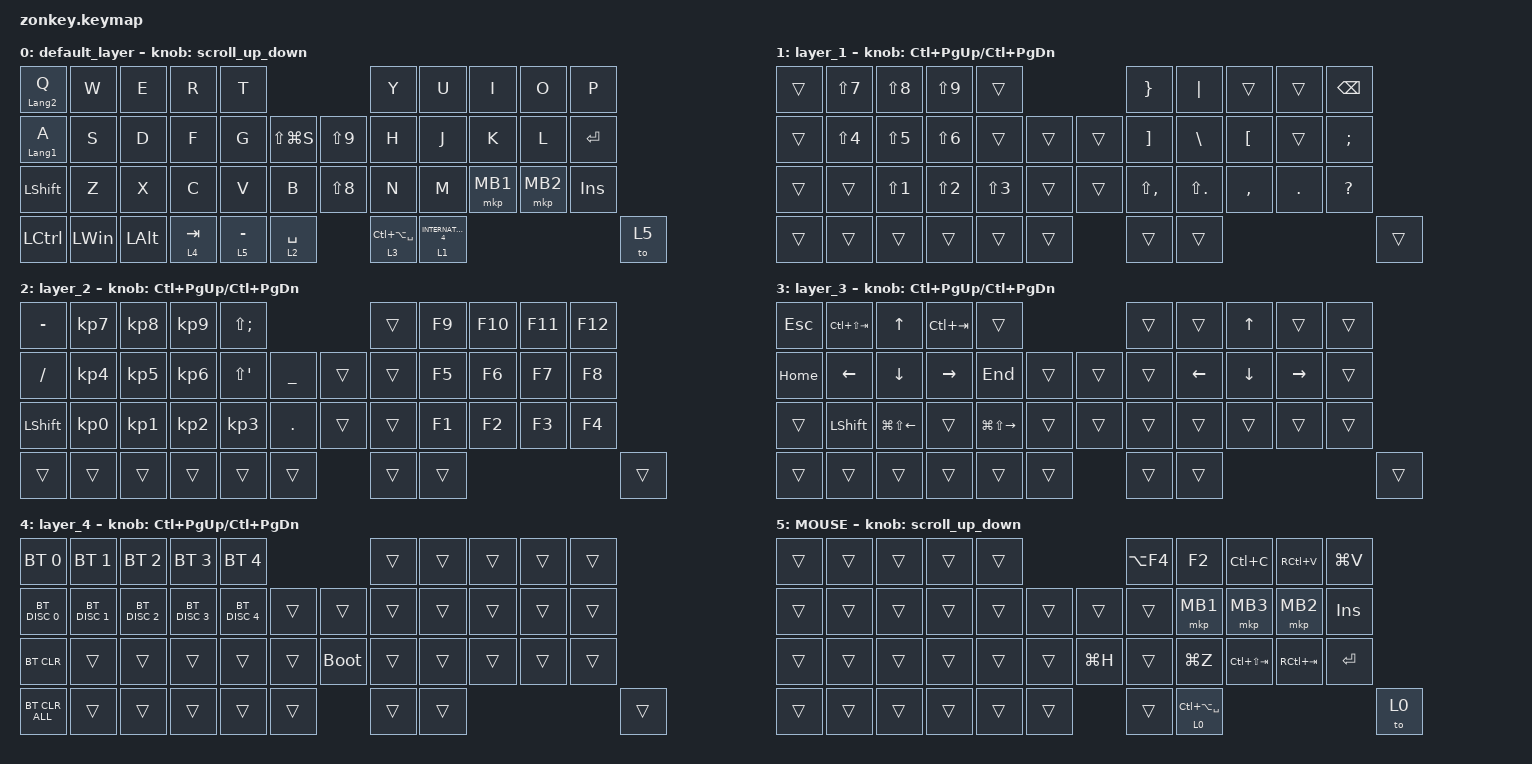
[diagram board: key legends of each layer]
#include <physical_layouts.dtsi>
#include <behaviors.dtsi>
#include <dt-bindings/zmk/bt.h>
#include <dt-bindings/zmk/keys.h>
#include <dt-bindings/zmk/pointing.h>

#define ZMK_POINTING_DEFAULT_SCRL_VAL 100
#define DFb 0
#define JIS 1
#define BT 4
#define MOUSE 6
#define JP_DQUOTE       AT                // "
#define JP_AMPERSAND    CARET             // &
#define JP_QUOTE        AMPERSAND         // '
#define JP_EQUAL        UNDER             // =
#define JP_CARET        EQUAL             // ^
#define JP_YEN          0x89              // ¥
#define JP_PLUS         COLON             // +
#define JP_TILDE        PLUS              // ~
#define JP_PIPE         LS(0x89)          // |
#define JP_AT           LEFT_BRACKET      // @
#define JP_COLON        SINGLE_QUOTE      // :
#define JP_ASTERISK     DOUBLE_QUOTES     // *
#define JP_BACKQUOTE    LEFT_BRACE        // `
#define JP_UNDERSCORE   LS(0x87)          // _
#define JP_LBRACKET     RIGHT_BRACKET     // [
#define JP_RBRACKET     BACKSLASH         // ]
#define JP_LPAREN       ASTERISK          // (
#define JP_RPAREN       LEFT_PARENTHESIS  // )
#define JP_LBRACE       RIGHT_BRACE       // {
#define JP_RBRACE       PIPE              // }
#define JP_KANA         LANGUAGE_1        // かな
#define JP_EISU         LANGUAGE_2        // 英数
#define JP_HANZEN       GRAVE             // 半角/全角
#define JP_BSLH  INT1         // (backslash)

&mt {
    flavor = "balanced";
    quick-tap-ms = <0>;
};

/ {
    combos { compatible = "zmk,combos"; };

    macros {
        to_layer_0: to_layer_0 {
            compatible = "zmk,behavior-macro-one-param";
            #binding-cells = <1>;
            bindings = <&to 0 &macro_param_1to1 &kp MACRO_PLACEHOLDER>;
            label = "TO_LAYER_0";
        };
    };

    behaviors {
        lt_to_layer_0: lt_to_layer_0 {
            compatible = "zmk,behavior-hold-tap";
            label = "LAYER_TAP_TO_0";
            bindings = <&mo>, <&to_layer_0>;

            #binding-cells = <2>;
            tapping-term-ms = <200>;
        };

        mo2: mo2 {
            compatible = "zmk,behavior-mod-morph";
            #binding-cells = <0>;
            bindings = <&kp N2>, <&kp AT>;

            mods = <(MOD_LSFT|MOD_RSFT)>;
        };

        mo6: mo6 {
            compatible = "zmk,behavior-mod-morph";
            #binding-cells = <0>;
            bindings = <&kp N6>, <&kp CARET>;

            mods = <(MOD_LSFT|MOD_RSFT)>;
        };

        mo7: mo7 {
            compatible = "zmk,behavior-mod-morph";
            #binding-cells = <0>;
            bindings = <&kp N7>, <&kp AMPS>;

            mods = <(MOD_LSFT|MOD_RSFT)>;
        };

        mo8: mo8 {
            compatible = "zmk,behavior-mod-morph";
            #binding-cells = <0>;
            bindings = <&kp N8>, <&kp ASTRK>;

            mods = <(MOD_LSFT|MOD_RSFT)>;
        };

        mo9: mo9 {
            compatible = "zmk,behavior-mod-morph";
            #binding-cells = <0>;
            bindings = <&kp N9>, <&kp LPAR>;

            mods = <(MOD_LSFT|MOD_RSFT)>;
        };

        mo0: mo0 {
            compatible = "zmk,behavior-mod-morph";
            #binding-cells = <0>;
            bindings = <&kp N0>, <&kp LS(N9)>;

            mods = <(MOD_LSFT|MOD_RSFT)>;
        };

        moA: moA {
            compatible = "zmk,behavior-mod-morph";
            #binding-cells = <0>;
            bindings = <&kp MINUS>, <&kp UNDERSCORE>;

            mods = <(MOD_LSFT|MOD_RSFT)>;
        };

        moB: moB {
            compatible = "zmk,behavior-mod-morph";
            #binding-cells = <0>;
            bindings = <&kp EQUAL>, <&kp PLUS>;

            mods = <(MOD_LSFT|MOD_RSFT)>;
        };

        moC: moC {
            compatible = "zmk,behavior-mod-morph";
            #binding-cells = <0>;
            bindings = <&kp INT3>, <&kp JP_PIPE>;

            mods = <(MOD_LSFT|MOD_RSFT)>;
        };

        moD: moD {
            compatible = "zmk,behavior-mod-morph";
            #binding-cells = <0>;
            bindings = <&kp LBKT>, <&kp LBRC>;

            mods = <(MOD_LSFT|MOD_RSFT)>;
        };

        moE: moE {
            compatible = "zmk,behavior-mod-morph";
            #binding-cells = <0>;
            bindings = <&kp RBKT>, <&kp RBRC>;

            mods = <(MOD_LSFT|MOD_RSFT)>;
        };

        moF: moF {
            compatible = "zmk,behavior-mod-morph";
            #binding-cells = <0>;
            bindings = <&kp SEMI>, <&kp KP_PLUS>;

            mods = <(MOD_LSFT|MOD_RSFT)>;
        };

        moG: moG {
            compatible = "zmk,behavior-mod-morph";
            #binding-cells = <0>;
            bindings = <&kp APOSTROPHE>, <&kp DQT>;

            mods = <(MOD_LSFT|MOD_RSFT)>;
        };

        moH: moH {
            compatible = "zmk,behavior-mod-morph";
            #binding-cells = <0>;
            bindings = <&kp BACKSLASH>, <&kp TILDE2>;

            mods = <(MOD_LSFT|MOD_RSFT)>;
        };

        moI: moI {
            compatible = "zmk,behavior-mod-morph";
            #binding-cells = <0>;
            bindings = <&kp JP_BSLH>, <&kp JP_UNDERSCORE>;

            mods = <(MOD_LSFT|MOD_RSFT)>;
        };

        scroll_up_down: behavior_sensor_rotate_mouse_wheel_up_down {
            compatible = "zmk,behavior-sensor-rotate";
            #sensor-binding-cells = <0>;
            bindings = <&msc SCRL_UP>, <&msc SCRL_DOWN>;

            tap-ms = <20>;
        };
    };

    keymap {
        compatible = "zmk,keymap";

        default_layer {
            bindings = <
&mt LANGUAGE_2 Q  &kp W         &kp E         &kp R      &kp T                                           &kp Y                &kp U                  &kp I     &kp O     &kp P
&mt LANGUAGE_1 A  &kp S         &kp D         &kp F      &kp G        &kp LS(LG(S))    &kp LS(NUMBER_9)  &kp H                &kp J                  &kp K     &kp L     &kp ENTER
&kp LEFT_SHIFT    &kp Z         &kp X         &kp C      &kp V        &kp B            &kp LS(NUMBER_8)  &kp N                &kp M                  &mkp MB1  &mkp MB2  &kp INSERT
&kp LCTRL         &kp LEFT_WIN  &kp LEFT_ALT  &lt 4 TAB  &lt 5 MINUS  &lt 2 SPACE                        &lt 3 LC(LA(SPACE))  &lt 1 INTERNATIONAL_4                                  &to 5
            >;

            sensor-bindings = <&scroll_up_down>;
        };

        layer_1 {
            bindings = <
&trans  &kp LS(N7)        &kp LS(N8)        &kp LS(N9)        &trans                              &kp RIGHT_BRACE    &kp PIPE        &trans            &trans      &kp BACKSPACE
&trans  &kp LS(NUMBER_4)  &kp LS(N5)        &kp LS(NUMBER_6)  &trans            &trans    &trans  &kp RIGHT_BRACKET  &kp BACKSLASH   &kp LEFT_BRACKET  &trans      &kp SEMICOLON
&trans  &trans            &kp LS(NUMBER_1)  &kp LS(NUMBER_2)  &kp LS(NUMBER_3)  &trans    &trans  &kp LS(COMMA)      &kp LS(PERIOD)  &kp COMMA         &kp PERIOD  &kp QUESTION
&trans  &trans            &trans            &trans            &trans            &trans            &trans             &trans                                                       &trans
            >;

            sensor-bindings = <&inc_dec_kp LC(PAGE_UP) LC(PAGE_DOWN)>;
        };

        layer_2 {
            bindings = <
&kp MINUS  &kp KP_NUMBER_7  &kp KP_NUMBER_8  &kp KP_NUMBER_9  &kp LS(SEMICOLON)                            &trans  &kp F9  &kp F10  &kp F11  &kp F12
&kp SLASH  &kp KP_NUMBER_4  &kp KP_NUMBER_5  &kp KP_NUMBER_6  &kp LS(SQT)        &kp UNDERSCORE    &trans  &trans  &kp F5  &kp F6   &kp F7   &kp F8
&kp LSHFT  &kp KP_NUMBER_0  &kp KP_NUMBER_1  &kp KP_NUMBER_2  &kp KP_NUMBER_3    &kp PERIOD        &trans  &trans  &kp F1  &kp F2   &kp F3   &kp F4
&trans     &trans           &trans           &trans           &trans             &trans                    &trans  &trans                             &trans
            >;

            sensor-bindings = <&inc_dec_kp LC(PAGE_UP) LC(PAGE_DOWN)>;
        };

        layer_3 {
            bindings = <
&kp ESCAPE  &kp LC(LS(TAB))  &kp UP_ARROW            &kp LC(TAB)      &trans                                     &trans  &trans          &kp UP_ARROW    &trans           &trans
&kp HOME    &kp LEFT_ARROW   &kp DOWN_ARROW          &kp RIGHT_ARROW  &kp END                  &trans    &trans  &trans  &kp LEFT_ARROW  &kp DOWN_ARROW  &kp RIGHT_ARROW  &trans
&trans      &kp LSHFT        &kp LG(LS(LEFT_ARROW))  &trans           &kp LG(LS(RIGHT_ARROW))  &trans    &trans  &trans  &trans          &trans          &trans           &trans
&trans      &trans           &trans                  &trans           &trans                   &trans            &trans  &trans                                                   &trans
            >;

            sensor-bindings = <&inc_dec_kp LC(PAGE_UP) LC(PAGE_DOWN)>;
        };

        layer_4 {
            bindings = <
&bt BT_SEL 0    &bt BT_SEL 1   &bt BT_SEL 2   &bt BT_SEL 3   &bt BT_SEL 4                          &trans  &trans  &trans  &trans  &trans
&bt BT_DISC 0   &bt BT_DISC 1  &bt BT_DISC 2  &bt BT_DISC 3  &bt BT_DISC 4  &trans    &trans       &trans  &trans  &trans  &trans  &trans
&bt BT_CLR      &trans         &trans         &trans         &trans         &trans    &bootloader  &trans  &trans  &trans  &trans  &trans
&bt BT_CLR_ALL  &trans         &trans         &trans         &trans         &trans                 &trans  &trans                          &trans
            >;

            sensor-bindings = <&inc_dec_kp LC(PAGE_UP) LC(PAGE_DOWN)>;
        };

        MOUSE {
            bindings = <
&trans  &trans  &trans  &trans  &trans                       &kp LA(F4)  &kp F2               &kp LC(C)        &kp RC(V)    &kp LG(V)
&trans  &trans  &trans  &trans  &trans  &trans    &trans     &trans      &mkp MB1             &mkp MB3         &mkp MB2     &kp INSERT
&trans  &trans  &trans  &trans  &trans  &trans    &kp LG(H)  &trans      &kp LG(Z)            &kp LC(LS(TAB))  &kp RC(TAB)  &kp ENTER
&trans  &trans  &trans  &trans  &trans  &trans               &trans      &lt 0 LC(LA(SPACE))                                            &to 0
            >;

            sensor-bindings = <&scroll_up_down>;
        };
    };
};
